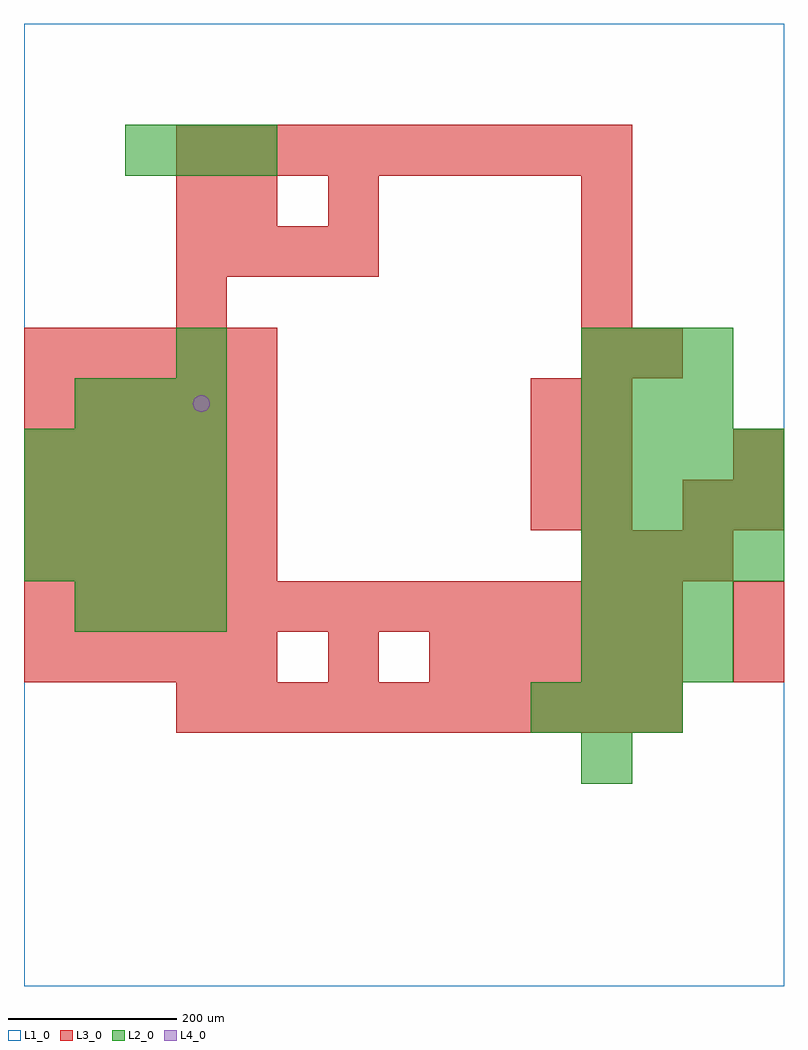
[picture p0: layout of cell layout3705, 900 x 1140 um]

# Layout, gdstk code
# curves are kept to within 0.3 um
import gdstk
lib = gdstk.Library(unit=1e-6, precision=1e-09)
def R(c, l, rs):  # rectangles x0, y0, x1, y1
    for r in rs: c.add(gdstk.rectangle(r[:2], r[2:], *l))
def A(c, l, x, y, w, h, nx, ny, dx, dy):  # array of equal rectangles
    R(c, l, [(x+i*dx, y+j*dy, x+i*dx+w, y+j*dy+h) for i in range(nx) for j in range(ny)])
def P(c, l, *ps):  # polygons
    for p in ps: c.add(gdstk.Polygon(p, *l))
L1_0 = (1, 0)
L2_0 = (2, 0)
L3_0 = (3, 0)
L4_0 = (4, 0)

layout3705 = lib.new_cell('layout3705')
R(layout3705, L1_0, [(0,0,900,1140)])
A(layout3705, L2_0, 600, 300, 60, 60, 3, 1, 60, 0)
A(layout3705, L2_0, 660, 360, 60, 60, 3, 2, 60, 60)
A(layout3705, L2_0, 60, 420, 60, 60, 3, 2, 60, 240)
A(layout3705, L2_0, 0, 480, 60, 60, 4, 3, 60, 60)
A(layout3705, L2_0, 660, 480, 60, 60, 4, 3, 60, 60)
A(layout3705, L2_0, 660, 660, 60, 60, 3, 2, 60, 60)
A(layout3705, L2_0, 120, 960, 60, 60, 3, 1, 60, 0)
R(layout3705, L2_0, [(660,240,720,300), (180,720,240,780)])
A(layout3705, L3_0, 180, 300, 60, 60, 10, 1, 60, 0)
A(layout3705, L3_0, 0, 360, 60, 60, 5, 2, 60, 120)
A(layout3705, L3_0, 480, 360, 60, 60, 5, 1, 60, 0)
A(layout3705, L3_0, 0, 420, 60, 60, 13, 1, 60, 0)
A(layout3705, L3_0, 660, 480, 60, 60, 3, 1, 60, 0)
A(layout3705, L3_0, 0, 540, 60, 60, 5, 4, 60, 60)
A(layout3705, L3_0, 600, 540, 60, 60, 1, 3, 0, 60)
A(layout3705, L3_0, 660, 540, 60, 60, 1, 7, 0, 60)
A(layout3705, L3_0, 180, 840, 60, 60, 4, 1, 60, 0)
A(layout3705, L3_0, 180, 960, 60, 60, 9, 1, 60, 0)
R(layout3705, L3_0, [(360,360,420,420), (840,360,900,420), (840,420,900,480), (780,540,840,600), (840,540,900,600), (840,600,900,660), (720,720,780,780), (180,780,240,840), (180,900,240,960), (240,900,300,960), (360,900,420,960)])
P(layout3705, L4_0, [(220,690),(219.239,693.827),(217.071,697.071),(213.827,699.239),(210,700),(206.173,699.239),(202.929,697.071),(200.761,693.827),(200,690),(200.761,686.173),(202.929,682.929),(206.173,680.761),(210,680),(213.827,680.761),(217.071,682.929),(219.239,686.173)])

lib.write_gds('layout3705.gds')
